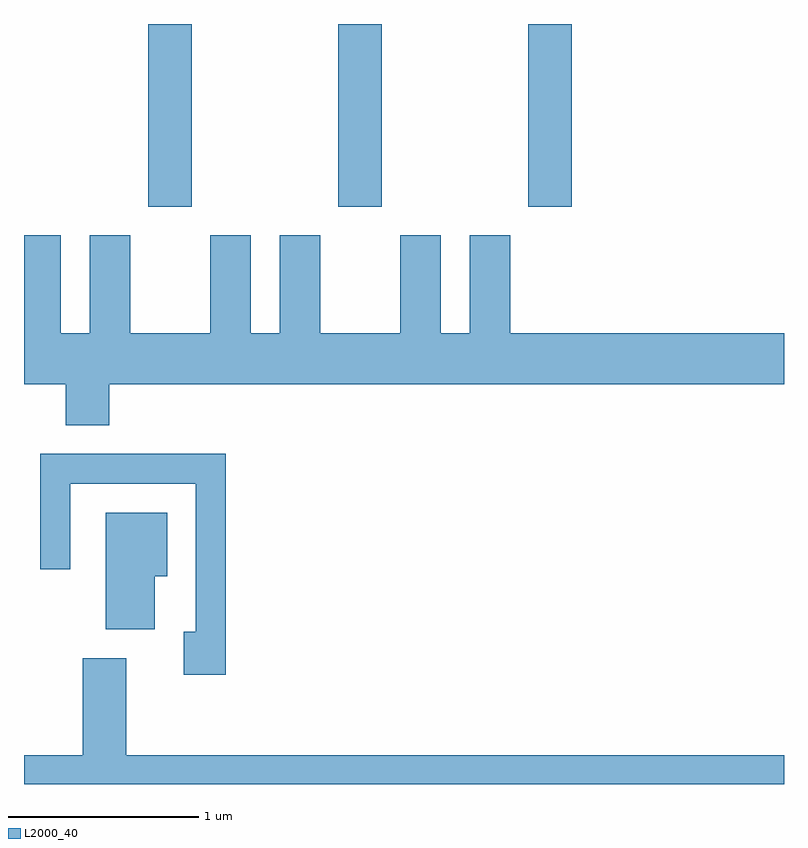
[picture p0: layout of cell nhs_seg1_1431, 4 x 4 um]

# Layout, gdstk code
import gdstk
lib = gdstk.Library(unit=1e-6, precision=1e-09)
def R(c, l, rs):  # rectangles x0, y0, x1, y1
    for r in rs: c.add(gdstk.rectangle(r[:2], r[2:], *l))
def A(c, l, x, y, w, h, nx, ny, dx, dy):  # array of equal rectangles
    R(c, l, [(x+i*dx, y+j*dy, x+i*dx+w, y+j*dy+h) for i in range(nx) for j in range(ny)])
def P(c, l, *ps):  # polygons
    for p in ps: c.add(gdstk.Polygon(p, *l))
L2000_40 = (2000, 40)

nhs_seg1_1431 = lib.new_cell('nhs_seg1_1431')
A(nhs_seg1_1431, L2000_40, 230.266, 882.751, 0.228, 0.961, 3, 1, 1, 0)
P(nhs_seg1_1431, L2000_40, [(230.059,881.816),(233.611,881.816),(233.611,882.084),(232.169,882.084),(232.169,882.599),(231.956,882.599),(231.956,882.084),(231.804,882.084),(231.804,882.599),(231.591,882.599),(231.591,882.084),(231.169,882.084),(231.169,882.599),(230.956,882.599),(230.956,882.084),(230.804,882.084),(230.804,882.599),(230.591,882.599),(230.591,882.084),(230.169,882.084),(230.169,882.599),(229.956,882.599),(229.956,882.084),(229.804,882.084),(229.804,882.599),(229.611,882.599),(229.611,881.816),(229.831,881.816),(229.831,881.601),(230.059,881.601)],
  [(230.674,881.449),(229.696,881.449),(229.696,880.843),(229.854,880.843),(229.854,881.291),(230.516,881.291),(230.516,880.514),(230.451,880.514),(230.451,880.286),(230.674,880.286)],
  [(230.299,880.806),(230.364,880.806),(230.364,881.139),(230.041,881.139),(230.041,880.526),(230.299,880.526)],
  [(233.611,879.864),(230.149,879.864),(230.149,880.374),(229.921,880.374),(229.921,879.864),(229.611,879.864),(229.611,879.712),(233.611,879.712)])

lib.write_gds('nhs_seg1_1431.gds')
